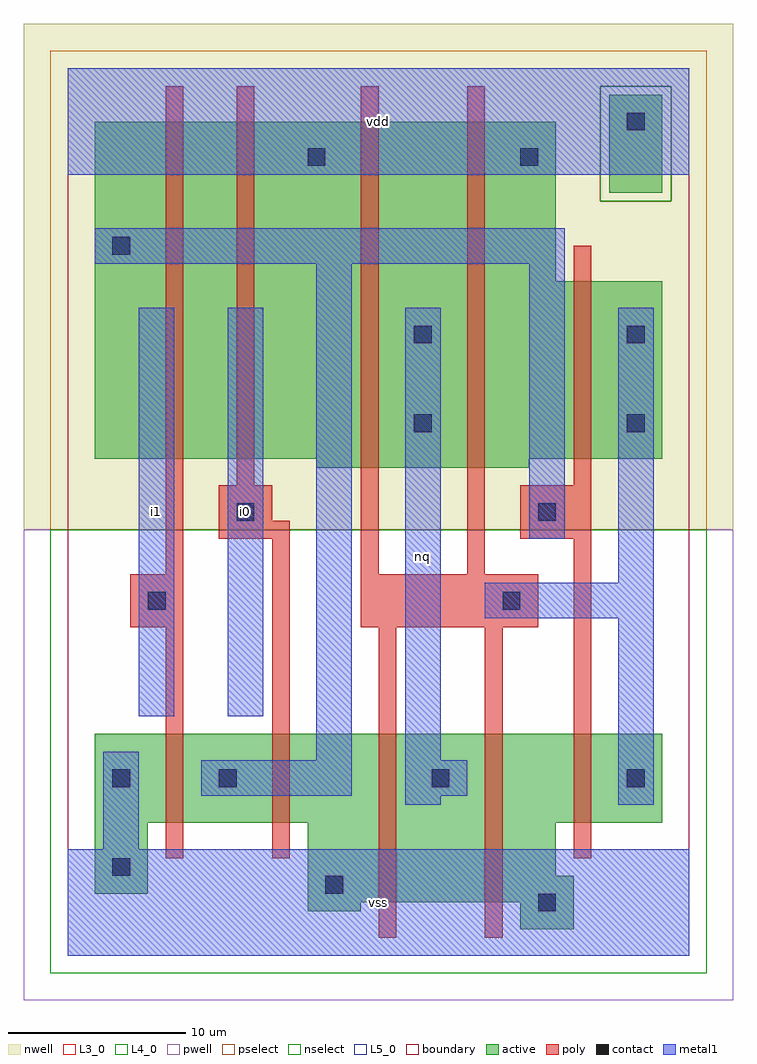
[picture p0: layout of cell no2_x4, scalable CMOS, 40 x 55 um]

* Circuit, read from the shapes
.subckt no2_x4 i0 i1 nq vdd vss
M1 n1 i1 vss VSUBS nfet w=5u l=1u
M2 vss i0 n1 VSUBS nfet w=5u l=1u
M3 nq n2 vss VSUBS nfet w=9.5u l=1u m=2
M4 n2 n1 vss VSUBS nfet w=5u l=1u
M5 n3 i1 n1 vdd pfet w=19u l=1u
M6 vdd i0 n3 vdd pfet w=19u l=1u
M7 nq n2 vdd vdd pfet w=19.5u l=1u m=2
M8 n2 n1 vdd vdd pfet w=10u l=1u
.ends

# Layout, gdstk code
import gdstk
lib = gdstk.Library(unit=1e-6, precision=1e-09)
def R(c, l, rs):  # rectangles x0, y0, x1, y1
    for r in rs: c.add(gdstk.rectangle(r[:2], r[2:], *l))
L3_0 = (3, 0)
L4_0 = (4, 0)
L5_0 = (5, 0)
contact = (25, 0)
pwell = (41, 0)
nwell = (42, 0)
active = (43, 0)
pselect = (44, 0)
nselect = (45, 0)
poly = (46, 0)
metal1 = (49, 0)
boundary = (63, 0)

no2_x4 = lib.new_cell('no2_x4')
R(no2_x4, L3_0, [(25.5,1.5,28.5,3), (13.5,2.5,16.5,3), (13.5,3,28.5,4.5), (1.5,3.5,4.5,7.5), (13.5,4.5,27.5,7.5), (1.5,7.5,33.5,12.5)])
R(no2_x4, L4_0, [(14,27.5,26,28), (1.5,28,33.5,38), (1.5,38,27.5,47)])
R(no2_x4, L5_0, [(30.5,43,33.5,48.5)])
R(no2_x4, contact, [(26.5,2.5,27.5,3.5), (14.5,3.5,15.5,4.5), (2.5,4.5,3.5,5.5), (2.5,9.5,3.5,10.5), (8.5,9.5,9.5,10.5), (20.5,9.5,21.5,10.5), (31.5,9.5,32.5,10.5), (4.5,19.5,5.5,20.5), (24.5,19.5,25.5,20.5), (9.5,24.5,10.5,25.5), (26.5,24.5,27.5,25.5), (19.5,29.5,20.5,30.5), (31.5,29.5,32.5,30.5), (19.5,34.5,20.5,35.5), (31.5,34.5,32.5,35.5), (2.5,39.5,3.5,40.5), (13.5,44.5,14.5,45.5), (25.5,44.5,26.5,45.5), (31.5,46.5,32.5,47.5)])
R(no2_x4, pwell, [(-2.5,-2.5,37.5,24)])
R(no2_x4, nwell, [(-2.5,24,37.5,52.5)])
R(no2_x4, active, [(25.5,1.5,28.5,3), (13.5,2.5,16.5,3), (13.5,3,28.5,4.5), (1.5,3.5,4.5,7.5), (13.5,4.5,27.5,7.5), (1.5,7.5,33.5,12.5), (14,27.5,26,28), (1.5,28,33.5,38), (1.5,38,27.5,47), (30.5,43,33.5,48.5)])
R(no2_x4, pselect, [(-1,24,36,42.5), (-1,42.5,30,49), (34,42.5,36,49), (-1,49,36,51)])
R(no2_x4, nselect, [(-1,-1,36,24), (30,42.5,34,49)])
R(no2_x4, poly, [(17.5,1,18.5,18.5), (23.5,1,24.5,18.5), (5.5,5.5,6.5,18.5), (11.5,5.5,12.5,23.5), (28.5,5.5,29.5,23.5), (3.5,18.5,6.5,21.5), (16.5,18.5,26.5,21.5), (5.5,21.5,6.5,49), (16.5,21.5,17.5,49), (22.5,21.5,23.5,49), (8.5,23.5,12.5,24.5), (25.5,23.5,29.5,26.5), (8.5,24.5,11.5,26.5), (9.5,26.5,10.5,49), (28.5,26.5,29.5,40)])
R(no2_x4, metal1, [(0,0,35,6), (0,0,35,6), (2,6,4,11.5), (2,6,4,11.5), (19,8.5,21,9), (19,8.5,21,9), (31,8.5,33,19), (31,8.5,33,19), (7.5,9,16,11), (7.5,9,16,11), (19,9,22.5,11), (19,9,22.5,11), (14,11,16,39), (14,11,16,39), (19,11,21,36.5), (19,11,21,36.5), (4,13.5,6,36.5), (4,13.5,6,36.5), (9,13.5,11,36.5), (9,13.5,11,36.5), (23.5,19,33,21), (23.5,19,33,21), (31,21,33,36.5), (31,21,33,36.5), (26,23.5,28,39), (26,23.5,28,39), (1.5,39,28,41), (1.5,39,28,41), (0,44,35,50), (0,44,35,50)])
R(no2_x4, boundary, [(0,0,35,50)])
no2_x4.add(gdstk.Label('i1', (5,25), layer=49, texttype=0))
no2_x4.add(gdstk.Label('i0', (10,25), layer=49, texttype=0))
no2_x4.add(gdstk.Label('vss', (17.5,3), layer=49, texttype=0))
no2_x4.add(gdstk.Label('nq', (20,22.5), layer=49, texttype=0))
no2_x4.add(gdstk.Label('vdd', (17.5,47), layer=49, texttype=0))

lib.write_gds('no2_x4.gds')
